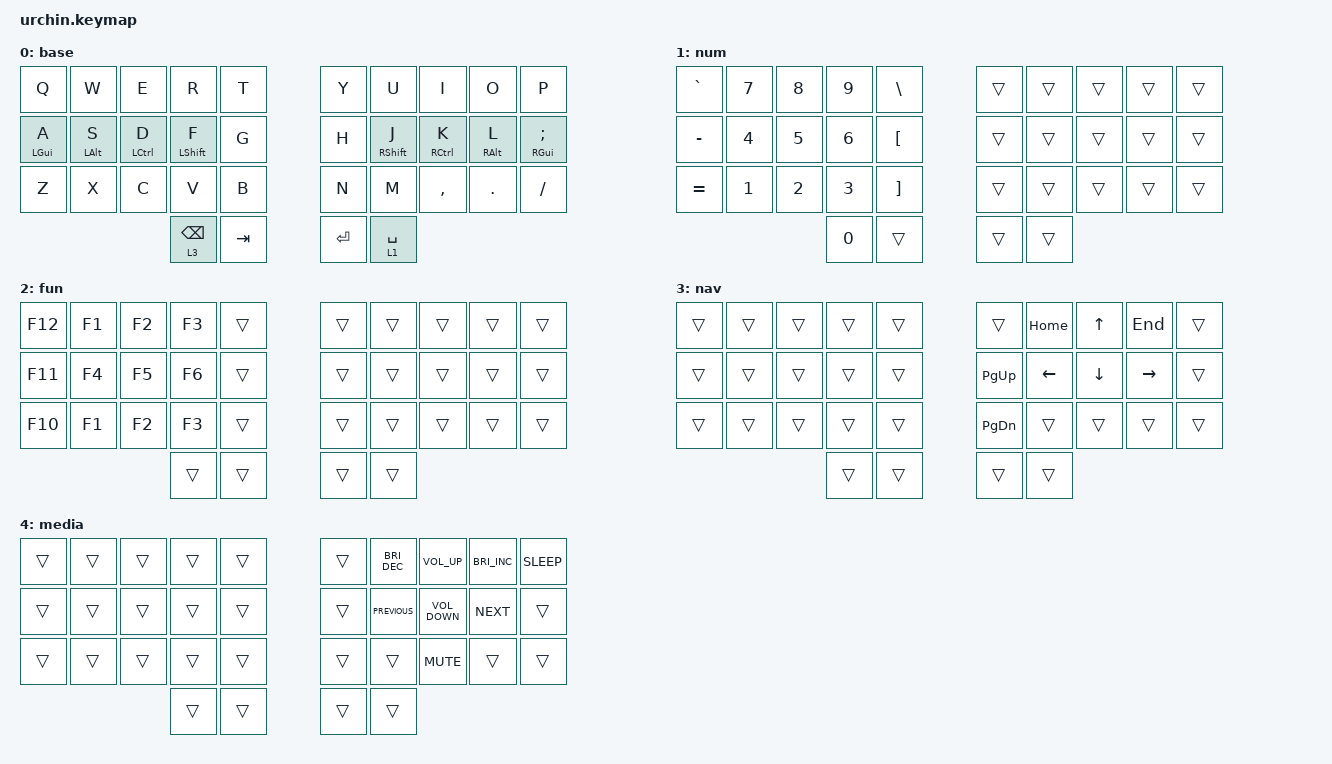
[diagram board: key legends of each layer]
#include <behaviors.dtsi>
#include <dt-bindings/zmk/keys.h>
#include <dt-bindings/zmk/bt.h>

/ {
    behaviors {
        hml: homewrow_mods_left {
            compatible = "zmk,behavior-hold-tap";
            label = "HOMEROW_MODS_LEFT_HAND";
            bindings = <&kp>, <&kp>;

            #binding-cells = <2>;
            tapping-term-ms = <200>;
            hold-trigger-key-positions = <5 6 7 8 9 9 15 16 17 18 19 25 26 27 28 29 33 32>;
        };

        hmr: homewrow_mods_right {
            compatible = "zmk,behavior-hold-tap";
            label = "HOMEROW_MODS_RIGHT_HAND";
            bindings = <&kp>, <&kp>;

            #binding-cells = <2>;
            hold-trigger-key-positions = <0 1 3 4 10 11 12 13 14 20 21 22 23 24 30 31 2>;
            tapping-term-ms = <200>;
        };
    };

    combos {
        compatible = "zmk,combos";

        Escape {
            bindings = <&lt 4 ESCAPE>;
            key-positions = <30 31>;
        };

        fun_layer {
            bindings = <&lt 2 DELETE>;
            key-positions = <33 32>;
        };
    };

    keymap {
        compatible = "zmk,keymap";

        base {
            bindings = <
&kp Q            &kp W            &kp E         &kp R            &kp T      &kp Y      &kp U          &kp I         &kp O             &kp P
&hml LEFT_GUI A  &hml LEFT_ALT S  &hml LCTRL D  &hml LSHIFT F    &kp G      &kp H      &hmr RSHIFT J  &hmr RCTRL K  &hmr RIGHT_ALT L  &hmr RIGHT_GUI SEMICOLON
&kp Z            &kp X            &kp C         &kp V            &kp B      &kp N      &kp M          &kp COMMA     &kp PERIOD        &kp SLASH
                                                &lt 3 BACKSPACE  &kp TAB    &kp ENTER  &lt 1 SPACE
            >;
        };

        num {
            bindings = <
&kp GRAVE  &kp N7  &kp N8  &kp N9  &kp BACKSLASH        &trans  &trans  &trans  &trans  &trans
&kp MINUS  &kp N4  &kp N5  &kp N6  &kp LEFT_BRACKET     &trans  &trans  &trans  &trans  &trans
&kp EQUAL  &kp N1  &kp N2  &kp N3  &kp RIGHT_BRACKET    &trans  &trans  &trans  &trans  &trans
                           &kp N0  &trans               &trans  &trans
            >;
        };

        fun {
            bindings = <
&kp F12  &kp F1  &kp F2  &kp F3  &trans    &trans  &trans  &trans  &trans  &trans
&kp F11  &kp F4  &kp F5  &kp F6  &trans    &trans  &trans  &trans  &trans  &trans
&kp F10  &kp F1  &kp F2  &kp F3  &trans    &trans  &trans  &trans  &trans  &trans
                         &trans  &trans    &trans  &trans
            >;
        };

        nav {
            bindings = <
&trans  &trans  &trans  &trans  &trans    &trans     &kp HOME  &kp UP    &kp END    &trans
&trans  &trans  &trans  &trans  &trans    &kp PG_UP  &kp LEFT  &kp DOWN  &kp RIGHT  &trans
&trans  &trans  &trans  &trans  &trans    &kp PG_DN  &trans    &trans    &trans     &trans
                        &trans  &trans    &trans     &trans
            >;
        };

        media {
            bindings = <
&trans  &trans  &trans  &trans  &trans    &trans  &kp C_BRIGHTNESS_DEC  &kp C_VOLUME_UP    &kp C_BRIGHTNESS_INC  &kp C_SLEEP
&trans  &trans  &trans  &trans  &trans    &trans  &kp C_PREVIOUS        &kp C_VOLUME_DOWN  &kp C_NEXT            &trans
&trans  &trans  &trans  &trans  &trans    &trans  &trans                &kp C_MUTE         &trans                &trans
                        &trans  &trans    &trans  &trans
            >;
        };
    };
};
